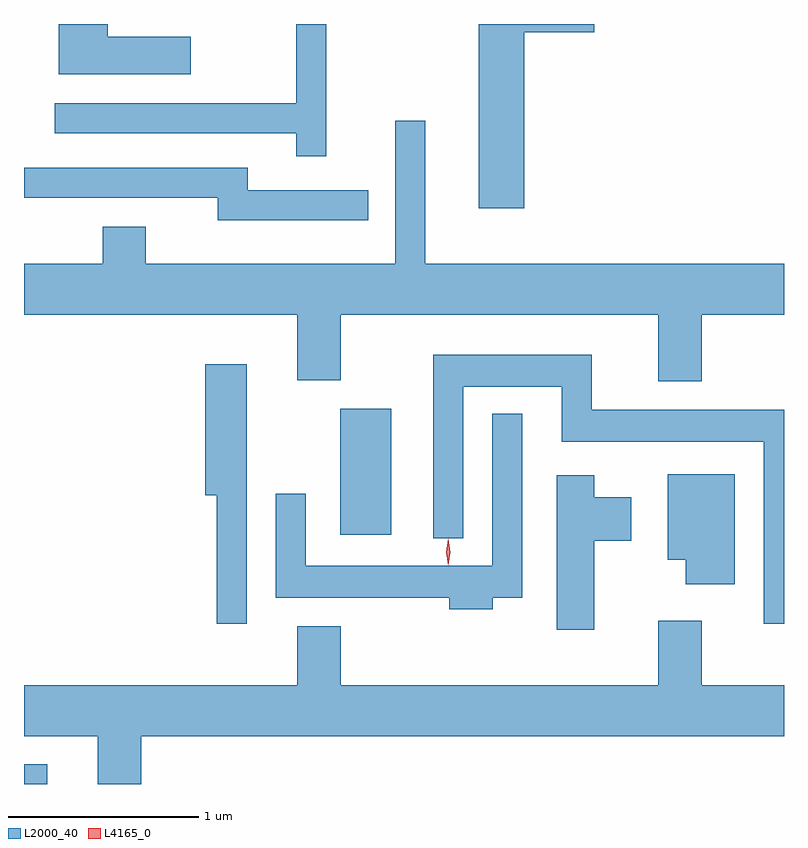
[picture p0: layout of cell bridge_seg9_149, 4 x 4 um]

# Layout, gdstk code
import gdstk
lib = gdstk.Library(unit=1e-6, precision=1e-09)
def R(c, l, rs):  # rectangles x0, y0, x1, y1
    for r in rs: c.add(gdstk.rectangle(r[:2], r[2:], *l))
def P(c, l, *ps):  # polygons
    for p in ps: c.add(gdstk.Polygon(p, *l))
L2000_40 = (2000, 40)
L4165_0 = (4165, 0)

bridge_seg9_149 = lib.new_cell('bridge_seg9_149')
R(bridge_seg9_149, L2000_40, [(1408.702,2062.605,1408.824,2062.708), (1410.366,2063.916,1410.634,2064.579)])
P(bridge_seg9_149, L2000_40, [(1410.294,2066.605),(1410.136,2066.605),(1410.136,2066.189),(1408.863,2066.189),(1408.863,2066.031),(1410.136,2066.031),(1410.136,2065.908),(1410.294,2065.908)],
  [(1409.579,2066.539),(1409.144,2066.539),(1409.144,2066.605),(1408.886,2066.605),(1408.886,2066.341),(1409.579,2066.341)],
  [(1411.334,2066.561),(1411.704,2066.561),(1411.704,2066.605),(1411.096,2066.605),(1411.096,2065.636),(1411.334,2065.636)],
  [(1412.269,2065.076),(1412.702,2065.076),(1412.702,2065.344),(1410.814,2065.344),(1410.814,2066.097),(1410.656,2066.097),(1410.656,2065.344),(1409.344,2065.344),(1409.344,2065.539),(1409.116,2065.539),(1409.116,2065.344),(1408.702,2065.344),(1408.702,2065.076),(1410.141,2065.076),(1410.141,2064.731),(1410.369,2064.731),(1410.369,2065.076),(1412.041,2065.076),(1412.041,2064.726),(1412.269,2064.726)],
  [(1410.513,2065.729),(1409.879,2065.729),(1409.879,2065.849),(1408.702,2065.849),(1408.702,2065.691),(1409.721,2065.691),(1409.721,2065.571),(1410.513,2065.571)],
  [(1412.702,2064.574),(1411.689,2064.574),(1411.689,2064.864),(1410.856,2064.864),(1410.856,2063.898),(1411.014,2063.898),(1411.014,2064.696),(1411.531,2064.696),(1411.531,2064.406),(1412.596,2064.406),(1412.596,2063.448),(1412.702,2063.448)],
  [(1409.874,2064.814),(1409.656,2064.814),(1409.656,2064.126),(1409.716,2064.126),(1409.716,2063.448),(1409.874,2063.448)],
  [(1411.169,2063.586),(1411.324,2063.586),(1411.324,2064.553),(1411.166,2064.553),(1411.166,2063.754),(1410.184,2063.754),(1410.184,2064.133),(1410.026,2064.133),(1410.026,2063.586),(1410.941,2063.586),(1410.941,2063.526),(1411.169,2063.526)],
  [(1412.444,2064.234),(1412.091,2064.234),(1412.091,2063.786),(1412.186,2063.786),(1412.186,2063.656),(1412.444,2063.656)],
  [(1411.704,2063.886),(1411.899,2063.886),(1411.899,2064.114),(1411.704,2064.114),(1411.704,2064.229),(1411.506,2064.229),(1411.506,2063.416),(1411.704,2063.416)],
  [(1409.319,2062.856),(1412.702,2062.856),(1412.702,2063.124),(1412.269,2063.124),(1412.269,2063.464),(1412.041,2063.464),(1412.041,2063.124),(1410.369,2063.124),(1410.369,2063.434),(1410.141,2063.434),(1410.141,2063.124),(1408.702,2063.124),(1408.702,2062.856),(1409.091,2062.856),(1409.091,2062.605),(1409.319,2062.605)])
P(bridge_seg9_149, L4165_0, [(1410.934,2063.757),(1410.925,2063.826),(1410.934,2063.896),(1410.935,2063.896),(1410.936,2063.896),(1410.945,2063.826),(1410.936,2063.757),(1410.935,2063.757)],
  [(1410.935,2063.759),(1410.934,2063.76),(1410.925,2063.826),(1410.934,2063.892),(1410.935,2063.893),(1410.935,2063.892),(1410.945,2063.826),(1410.935,2063.76)])

lib.write_gds('bridge_seg9_149.gds')
